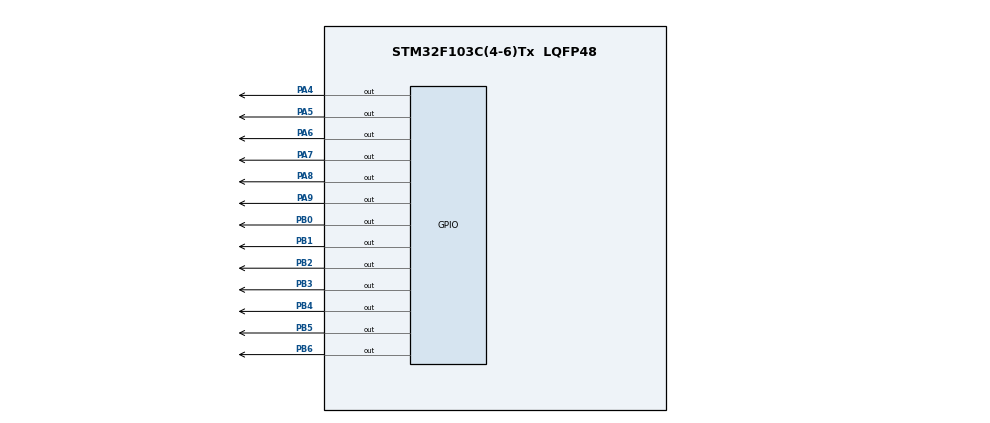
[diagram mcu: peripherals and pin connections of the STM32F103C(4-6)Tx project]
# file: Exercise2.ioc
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Mcu.Family=STM32F1
Mcu.Name=STM32F103C(4-6)Tx
Mcu.Package=LQFP48
NVIC.PriorityGroup=NVIC_PRIORITYGROUP_4
NVIC.TIM2_IRQn=true\:0\:0\:false\:false\:true\:true\:true
PA4.Signal=GPIO_Output
PA5.Signal=GPIO_Output
PA6.Signal=GPIO_Output
PA7.Signal=GPIO_Output
PA8.Signal=GPIO_Output
PA9.Signal=GPIO_Output
PB0.Signal=GPIO_Output
PB1.Signal=GPIO_Output
PB2.Signal=GPIO_Output
PB3.Signal=GPIO_Output
PB4.Signal=GPIO_Output
PB5.Signal=GPIO_Output
PB6.Signal=GPIO_Output
ProjectManager.HeapSize=0x200
ProjectManager.StackSize=0x400
ProjectManager.TargetToolchain=STM32CubeIDE
RCC.APB1Freq_Value=8000000
RCC.APB2Freq_Value=8000000
TIM2.Period=9
TIM2.Prescaler=7999
VP_SYS_VS_ND.Mode=No_Debug
VP_TIM2_VS_ClockSourceINT.Mode=Internal
board=custom

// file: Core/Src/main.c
/* USER CODE BEGIN Header */
/**
  ******************************************************************************
  * @file           : main.c
  * @brief          : Main program body
  ******************************************************************************
  * @attention
  *
  * <h2><center>&copy; Copyright (c) 2021 STMicroelectronics.
  * All rights reserved.</center></h2>
  *
  * This software component is licensed by ST under BSD 3-Clause license,
  * the "License"; You may not use this file except in compliance with the
  * License. You may obtain a copy of the License at:
  *                        opensource.org/licenses/BSD-3-Clause
  *
  ******************************************************************************
  */
/* USER CODE END Header */
#include "main.h"

TIM_HandleTypeDef htim2;

void SystemClock_Config(void);
static void MX_GPIO_Init(void);
static void MX_TIM2_Init(void);

int main(void)
{

  /* MCU Configuration--------------------------------------------------------*/

  /* Reset of all peripherals, Initializes the Flash interface and the Systick. */
  HAL_Init();

  /* Configure the system clock */
  SystemClock_Config();

  /* Initialize all configured peripherals */
  MX_GPIO_Init();
  MX_TIM2_Init();
  /* USER CODE BEGIN 2 */
  HAL_TIM_Base_Start_IT (& htim2 );
  /* USER CODE END 2 */

  /* Infinite loop */
  while (1)
  {

  }
}

void SystemClock_Config(void)
{
  RCC_OscInitTypeDef RCC_OscInitStruct = {0};
  RCC_ClkInitTypeDef RCC_ClkInitStruct = {0};

  /** Initializes the RCC Oscillators according to the specified parameters
  * in the RCC_OscInitTypeDef structure.
  */
  RCC_OscInitStruct.OscillatorType = RCC_OSCILLATORTYPE_HSI;
  RCC_OscInitStruct.HSIState = RCC_HSI_ON;
  RCC_OscInitStruct.HSICalibrationValue = RCC_HSICALIBRATION_DEFAULT;
  RCC_OscInitStruct.PLL.PLLState = RCC_PLL_NONE;
  if (HAL_RCC_OscConfig(&RCC_OscInitStruct) != HAL_OK)
  {
    Error_Handler();
  }
  /** Initializes the CPU, AHB and APB buses clocks
  */
  RCC_ClkInitStruct.ClockType = RCC_CLOCKTYPE_HCLK|RCC_CLOCKTYPE_SYSCLK
                              |RCC_CLOCKTYPE_PCLK1|RCC_CLOCKTYPE_PCLK2;
  RCC_ClkInitStruct.SYSCLKSource = RCC_SYSCLKSOURCE_HSI;
  RCC_ClkInitStruct.AHBCLKDivider = RCC_SYSCLK_DIV1;
  RCC_ClkInitStruct.APB1CLKDivider = RCC_HCLK_DIV1;
  RCC_ClkInitStruct.APB2CLKDivider = RCC_HCLK_DIV1;

  if (HAL_RCC_ClockConfig(&RCC_ClkInitStruct, FLASH_LATENCY_0) != HAL_OK)
  {
    Error_Handler();
  }
}

static void MX_TIM2_Init(void)
{

  TIM_ClockConfigTypeDef sClockSourceConfig = {0};
  TIM_MasterConfigTypeDef sMasterConfig = {0};

  htim2.Instance = TIM2;
  htim2.Init.Prescaler = 7999;
  htim2.Init.CounterMode = TIM_COUNTERMODE_UP;
  htim2.Init.Period = 9;
  htim2.Init.ClockDivision = TIM_CLOCKDIVISION_DIV1;
  htim2.Init.AutoReloadPreload = TIM_AUTORELOAD_PRELOAD_DISABLE;
  if (HAL_TIM_Base_Init(&htim2) != HAL_OK)
  {
    Error_Handler();
  }
  sClockSourceConfig.ClockSource = TIM_CLOCKSOURCE_INTERNAL;
  if (HAL_TIM_ConfigClockSource(&htim2, &sClockSourceConfig) != HAL_OK)
  {
    Error_Handler();
  }
  sMasterConfig.MasterOutputTrigger = TIM_TRGO_RESET;
  sMasterConfig.MasterSlaveMode = TIM_MASTERSLAVEMODE_DISABLE;
  if (HAL_TIMEx_MasterConfigSynchronization(&htim2, &sMasterConfig) != HAL_OK)
  {
    Error_Handler();
  }

}

static void MX_GPIO_Init(void)
{
  GPIO_InitTypeDef GPIO_InitStruct = {0};

  /* GPIO Ports Clock Enable */
  __HAL_RCC_GPIOA_CLK_ENABLE();
  __HAL_RCC_GPIOB_CLK_ENABLE();

  /*Configure GPIO pin Output Level */
  HAL_GPIO_WritePin(GPIOA, GPIO_PIN_4|GPIO_PIN_5|GPIO_PIN_6|GPIO_PIN_7
                          |GPIO_PIN_8|GPIO_PIN_9, GPIO_PIN_SET);

  /*Configure GPIO pin Output Level */
  HAL_GPIO_WritePin(GPIOB, GPIO_PIN_0|GPIO_PIN_1|GPIO_PIN_2|GPIO_PIN_3
                          |GPIO_PIN_4|GPIO_PIN_5|GPIO_PIN_6, GPIO_PIN_SET);

  /*Configure GPIO pins : PA4 PA5 PA6 PA7
                           PA8 PA9 */
  GPIO_InitStruct.Pin = GPIO_PIN_4|GPIO_PIN_5|GPIO_PIN_6|GPIO_PIN_7
                          |GPIO_PIN_8|GPIO_PIN_9;
  GPIO_InitStruct.Mode = GPIO_MODE_OUTPUT_PP;
  GPIO_InitStruct.Pull = GPIO_NOPULL;
  GPIO_InitStruct.Speed = GPIO_SPEED_FREQ_LOW;
  HAL_GPIO_Init(GPIOA, &GPIO_InitStruct);

  /*Configure GPIO pins : PB0 PB1 PB2 PB3
                           PB4 PB5 PB6 */
  GPIO_InitStruct.Pin = GPIO_PIN_0|GPIO_PIN_1|GPIO_PIN_2|GPIO_PIN_3
                          |GPIO_PIN_4|GPIO_PIN_5|GPIO_PIN_6;
  GPIO_InitStruct.Mode = GPIO_MODE_OUTPUT_PP;
  GPIO_InitStruct.Pull = GPIO_NOPULL;
  GPIO_InitStruct.Speed = GPIO_SPEED_FREQ_LOW;
  HAL_GPIO_Init(GPIOB, &GPIO_InitStruct);

}

/* USER CODE BEGIN 4 */
int counter = 200;
void HAL_TIM_PeriodElapsedCallback ( TIM_HandleTypeDef * htim ){
	counter--;
	if( counter == 199) {

		HAL_GPIO_TogglePin(GPIOA,GPIO_PIN_4|GPIO_PIN_5);

		HAL_GPIO_WritePin(GPIOA, GPIO_PIN_6, 0);
		HAL_GPIO_WritePin(GPIOA, GPIO_PIN_7|GPIO_PIN_8|GPIO_PIN_9, 1);
		display7SEG(1);
	}
	if ( counter==150) {
		HAL_GPIO_WritePin(GPIOA, GPIO_PIN_7, 0);
		HAL_GPIO_WritePin(GPIOA, GPIO_PIN_6|GPIO_PIN_8|GPIO_PIN_9, 1);
		display7SEG(2);
	}

	if (counter==100){

		HAL_GPIO_TogglePin(GPIOA,GPIO_PIN_4|GPIO_PIN_5);

		HAL_GPIO_WritePin(GPIOA,GPIO_PIN_8, 0);
		HAL_GPIO_WritePin(GPIOA, GPIO_PIN_6|GPIO_PIN_7|GPIO_PIN_9, 1);
		display7SEG(3);
	}
	if ( counter==50){
		HAL_GPIO_WritePin(GPIOA, GPIO_PIN_9, 0);
		HAL_GPIO_WritePin(GPIOA, GPIO_PIN_6|GPIO_PIN_7|GPIO_PIN_8, 1);
		display7SEG(0);
	}
	if (counter <=0 ){
		counter=200;
	}
}
void display7SEG(int num){
	if ( num==0 ) {
		HAL_GPIO_WritePin(GPIOB, GPIO_PIN_0|GPIO_PIN_1|GPIO_PIN_2|GPIO_PIN_3|GPIO_PIN_4|GPIO_PIN_5,0 );
		HAL_GPIO_WritePin(GPIOB, GPIO_PIN_6,1 );
	}
	if ( num==1 ) {
		HAL_GPIO_WritePin(GPIOB, GPIO_PIN_0|GPIO_PIN_3|GPIO_PIN_4|GPIO_PIN_5|GPIO_PIN_6, 1 );
		HAL_GPIO_WritePin(GPIOB, GPIO_PIN_1|GPIO_PIN_2, 0 );
	}
	if ( num==2 ) {
		HAL_GPIO_WritePin(GPIOB, GPIO_PIN_0|GPIO_PIN_1|GPIO_PIN_3|GPIO_PIN_4|GPIO_PIN_6,0 );
		HAL_GPIO_WritePin(GPIOB, GPIO_PIN_2|GPIO_PIN_5,1 );
	}
	if ( num==3 ) {
		HAL_GPIO_WritePin(GPIOB, GPIO_PIN_0|GPIO_PIN_1|GPIO_PIN_2|GPIO_PIN_3|GPIO_PIN_6,0 );
		HAL_GPIO_WritePin(GPIOB, GPIO_PIN_4|GPIO_PIN_5,1 );
	}
	if ( num==4 ) {
		HAL_GPIO_WritePin(GPIOB, GPIO_PIN_1|GPIO_PIN_2|GPIO_PIN_5|GPIO_PIN_6,0 );
		HAL_GPIO_WritePin(GPIOB, GPIO_PIN_0|GPIO_PIN_3|GPIO_PIN_4,1 );
	}
	if ( num==5 ) {
		HAL_GPIO_WritePin(GPIOB, GPIO_PIN_0|GPIO_PIN_2|GPIO_PIN_3|GPIO_PIN_5|GPIO_PIN_6,0 );
		HAL_GPIO_WritePin(GPIOB, GPIO_PIN_1|GPIO_PIN_4,1);
	}
	if ( num==6 ) {
		HAL_GPIO_WritePin(GPIOB, GPIO_PIN_0|GPIO_PIN_2|GPIO_PIN_3|GPIO_PIN_4|GPIO_PIN_5|GPIO_PIN_6,0 );
		HAL_GPIO_WritePin(GPIOB, GPIO_PIN_1,1 );
	}
	if ( num==7 ) {
		HAL_GPIO_WritePin(GPIOB, GPIO_PIN_0|GPIO_PIN_1|GPIO_PIN_2,0 );
		HAL_GPIO_WritePin(GPIOB, GPIO_PIN_3|GPIO_PIN_4|GPIO_PIN_5|GPIO_PIN_6,1 );
	}
	if ( num==8 ) {
		HAL_GPIO_WritePin(GPIOB, GPIO_PIN_0|GPIO_PIN_1|GPIO_PIN_2|GPIO_PIN_3|GPIO_PIN_4|GPIO_PIN_5|GPIO_PIN_6,0 );
	}
	if ( num==9 ) {
		HAL_GPIO_WritePin(GPIOB, GPIO_PIN_0|GPIO_PIN_1|GPIO_PIN_2|GPIO_PIN_3|GPIO_PIN_5|GPIO_PIN_6,0 );
		HAL_GPIO_WritePin(GPIOB, GPIO_PIN_4,1 );
	}
}
/* USER CODE END 4 */

void Error_Handler(void)
{
  __disable_irq();
  while (1)
  {
  }
}

/************************ (C) COPYRIGHT STMicroelectronics *****END OF FILE****/
